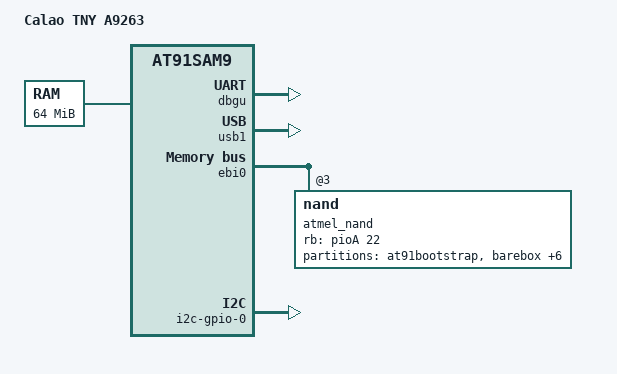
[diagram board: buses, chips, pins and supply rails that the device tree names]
// SPDX-License-Identifier: GPL-2.0-only
/*
 * usb_a9263.dts - Device Tree file for Calao USB A9293 board
 *
 *  Copyright (C) 2012 Jean-Christophe PLAGNIOL-VILLARD <plagnioj@jcrosoft.com>
 */
/dts-v1/;
#include "at91sam9263.dtsi"

/ {
	model = "Calao TNY A9263";
	compatible = "atmel,tny-a9263", "atmel,at91sam9263", "atmel,at91sam9";

	chosen {
		bootargs = "mem=64M console=ttyS0,115200 root=/dev/mtdblock5 rw rootfstype=ubifs";
	};

	memory@20000000 {
		reg = <0x20000000 0x4000000>;
	};

	clocks {
		slow_xtal {
			clock-frequency = <32768>;
		};

		main_xtal {
			clock-frequency = <12000000>;
		};
	};

	ahb {
		apb {
			dbgu: serial@ffffee00 {
				status = "okay";
			};

			tcb0: timer@fff7c000 {
				timer@0 {
					compatible = "atmel,tcb-timer";
					reg = <0>, <1>;
				};

				timer@2 {
					compatible = "atmel,tcb-timer";
					reg = <2>;
				};
			};

			usb1: gadget@fff78000 {
				atmel,vbus-gpio = <&pioB 11 GPIO_ACTIVE_HIGH>;
				status = "okay";
			};
		};

		ebi0: ebi@10000000 {
			status = "okay";

			nand_controller: nand-controller {
				status = "okay";
				pinctrl-0 = <&pinctrl_nand_cs &pinctrl_nand_rb>;
				pinctrl-names = "default";

				nand@3 {
					reg = <0x3 0x0 0x800000>;
					rb-gpios = <&pioA 22 GPIO_ACTIVE_HIGH>;
					cs-gpios = <&pioD 15 GPIO_ACTIVE_HIGH>;
					nand-bus-width = <8>;
					nand-ecc-mode = "soft";
					nand-on-flash-bbt;
					label = "atmel_nand";

					partitions {
						compatible = "fixed-partitions";
						#address-cells = <1>;
						#size-cells = <1>;

						at91bootstrap@0 {
							label = "at91bootstrap";
							reg = <0x0 0x20000>;
						};

						barebox@20000 {
							label = "barebox";
							reg = <0x20000 0x40000>;
						};

						bareboxenv@60000 {
							label = "bareboxenv";
							reg = <0x60000 0x20000>;
						};

						bareboxenv2@80000 {
							label = "bareboxenv2";
							reg = <0x80000 0x20000>;
						};

						oftree@80000 {
							label = "oftree";
							reg = <0xa0000 0x20000>;
						};

						kernel@a0000 {
							label = "kernel";
							reg = <0xc0000 0x400000>;
						};

						rootfs@4a0000 {
							label = "rootfs";
							reg = <0x4c0000 0x7800000>;
						};

						data@7ca0000 {
							label = "data";
							reg = <0x7cc0000 0x8340000>;
						};
					};
				};
			};
		};
	};

	i2c-gpio-0 {
		status = "okay";
	};
};
